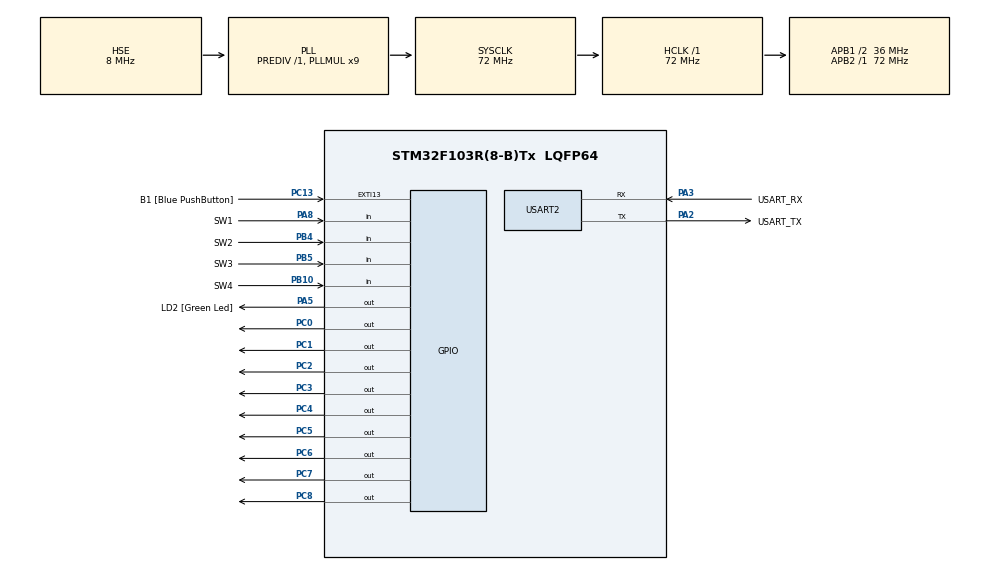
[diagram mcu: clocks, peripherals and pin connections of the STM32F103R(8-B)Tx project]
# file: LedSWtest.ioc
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Mcu.Family=STM32F1
Mcu.Name=STM32F103R(8-B)Tx
Mcu.Package=LQFP64
NVIC.EXTI15_10_IRQn=true\:0\:0\:false\:false\:true\:true\:true\:true
NVIC.PriorityGroup=NVIC_PRIORITYGROUP_4
PA13.GPIO_Label=TMS
PA13.Mode=Serial_Wire
PA13.Signal=SYS_JTMS-SWDIO
PA14.GPIO_Label=TCK
PA14.Mode=Serial_Wire
PA14.Signal=SYS_JTCK-SWCLK
PA2.GPIO_Label=USART_TX
PA2.GPIO_Mode=GPIO_MODE_AF_PP
PA2.GPIO_PuPd=GPIO_NOPULL
PA2.GPIO_Speed=GPIO_SPEED_FREQ_LOW
PA2.Mode=Asynchronous
PA2.Signal=USART2_TX
PA3.GPIO_Label=USART_RX
PA3.GPIO_Mode=GPIO_MODE_AF_PP
PA3.GPIO_PuPd=GPIO_NOPULL
PA3.GPIO_Speed=GPIO_SPEED_FREQ_LOW
PA3.Mode=Asynchronous
PA3.Signal=USART2_RX
PA5.GPIO_Label=LD2 [Green Led]
PA5.GPIO_ModeDefaultOutputPP=GPIO_MODE_OUTPUT_PP
PA5.GPIO_PuPd=GPIO_NOPULL
PA5.GPIO_Speed=GPIO_SPEED_FREQ_LOW
PA5.Signal=GPIO_Output
PA8.GPIO_Label=SW1
PA8.Signal=GPIO_Input
PB10.GPIO_Label=SW4
PB10.Signal=GPIO_Input
PB3.GPIO_Label=SWO
PB3.Signal=SYS_JTDO-TRACESWO
PB4.GPIO_Label=SW2
PB4.Signal=GPIO_Input
PB5.GPIO_Label=SW3
PB5.Signal=GPIO_Input
PC0.Signal=GPIO_Output
PC1.Signal=GPIO_Output
PC13-TAMPER-RTC.GPIO_Label=B1 [Blue PushButton]
PC13-TAMPER-RTC.GPIO_PuPd=GPIO_NOPULL
PC13-TAMPER-RTC.Signal=GPXTI13
PC14-OSC32_IN.Mode=LSE-External-Oscillator
PC14-OSC32_IN.Signal=RCC_OSC32_IN
PC15-OSC32_OUT.Mode=LSE-External-Oscillator
PC15-OSC32_OUT.Signal=RCC_OSC32_OUT
PC2.Signal=GPIO_Output
PC3.Signal=GPIO_Output
PC4.Signal=GPIO_Output
PC5.Signal=GPIO_Output
PC6.Signal=GPIO_Output
PC7.Signal=GPIO_Output
PC8.Signal=GPIO_Output
PD0-OSC_IN.Mode=HSE-External-Clock-Source
PD0-OSC_IN.Signal=RCC_OSC_IN
PD1-OSC_OUT.Mode=HSE-External-Clock-Source
PD1-OSC_OUT.Signal=RCC_OSC_OUT
ProjectManager.HeapSize=0x200
ProjectManager.StackSize=0x400
ProjectManager.TargetToolchain=STM32CubeIDE
RCC.AHBFreq_Value=72000000
RCC.APB1CLKDivider=RCC_HCLK_DIV2
RCC.APB1Freq_Value=36000000
RCC.APB1TimFreq_Value=72000000
RCC.APB2Freq_Value=72000000
RCC.APB2TimFreq_Value=72000000
RCC.HCLKFreq_Value=72000000
RCC.PLLMUL=RCC_PLL_MUL9
RCC.PLLSourceVirtual=RCC_PLLSOURCE_HSE
RCC.RTCClockSelection=RCC_RTCCLKSOURCE_LSE
RCC.SYSCLKFreq_VALUE=72000000
RCC.SYSCLKSource=RCC_SYSCLKSOURCE_PLLCLK
RCC.USBFreq_Value=72000000
USART2.VirtualMode=VM_ASYNC
board=NUCLEO-F103RB

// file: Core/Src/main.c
/* USER CODE BEGIN Header */
/**
  ******************************************************************************
  * @file           : main.c
  * @brief          : Main program body
  ******************************************************************************
  * @attention
  *
  * Copyright (c) 2022 STMicroelectronics.
  * All rights reserved.
  *
  * This software is licensed under terms that can be found in the LICENSE file
  * in the root directory of this software component.
  * If no LICENSE file comes with this software, it is provided AS-IS.
  *
  ******************************************************************************
  */
/* USER CODE END Header */
#include "main.h"

 UART_HandleTypeDef huart2;

void SystemClock_Config(void);
static void MX_GPIO_Init(void);
static void MX_USART2_UART_Init(void);

int main(void)
{

  /* MCU Configuration--------------------------------------------------------*/

  /* Reset of all peripherals, Initializes the Flash interface and the Systick. */
  HAL_Init();

  /* Configure the system clock */
  SystemClock_Config();

  /* Initialize all configured peripherals */
  MX_GPIO_Init();
  MX_USART2_UART_Init();
  /* USER CODE BEGIN 2 */
//  	  HAL_GPIO_TogglePin(GPIOC, GPIO_PIN_All);
//	  HAL_Delay(2000);

  /* USER CODE END 2 */

  /* Infinite loop */
  /* USER CODE BEGIN WHILE */
  while (1)
  {
	  if(HAL_GPIO_ReadPin(GPIOA, SW1_Pin) == GPIO_PIN_RESET)
	  {
		  HAL_GPIO_WritePin(GPIOC, 0xAA, GPIO_PIN_SET);
		  HAL_Delay(2000);
		  HAL_GPIO_WritePin(GPIOC, 0xAA, GPIO_PIN_RESET);
	  }
	  else if(HAL_GPIO_ReadPin(GPIOB, SW2_Pin) == GPIO_PIN_RESET)
	  {
		  HAL_GPIO_WritePin(GPIOC, 0x55, GPIO_PIN_SET);
		  HAL_Delay(2000);
		  HAL_GPIO_WritePin(GPIOC, 0x55, GPIO_PIN_RESET);
	  }
	  else if(HAL_GPIO_ReadPin(GPIOB, SW3_Pin) == GPIO_PIN_RESET)
	  {
		  HAL_GPIO_WritePin(GPIOC, 0x33, GPIO_PIN_SET);
		  HAL_Delay(2000);
		  HAL_GPIO_WritePin(GPIOC, 0x33, GPIO_PIN_RESET);
	  }
	  else if(HAL_GPIO_ReadPin(GPIOB, SW4_Pin) == GPIO_PIN_RESET)
		{
		  HAL_GPIO_WritePin(GPIOC, 0xCC, GPIO_PIN_SET);
		  HAL_Delay(2000);
		  HAL_GPIO_WritePin(GPIOC, 0xCC, GPIO_PIN_RESET);
		}

    /* USER CODE END WHILE */

  }
}

void SystemClock_Config(void)
{
  RCC_OscInitTypeDef RCC_OscInitStruct = {0};
  RCC_ClkInitTypeDef RCC_ClkInitStruct = {0};

  /** Initializes the RCC Oscillators according to the specified parameters
  * in the RCC_OscInitTypeDef structure.
  */
  RCC_OscInitStruct.OscillatorType = RCC_OSCILLATORTYPE_HSE;
  RCC_OscInitStruct.HSEState = RCC_HSE_BYPASS;
  RCC_OscInitStruct.HSEPredivValue = RCC_HSE_PREDIV_DIV1;
  RCC_OscInitStruct.HSIState = RCC_HSI_ON;
  RCC_OscInitStruct.PLL.PLLState = RCC_PLL_ON;
  RCC_OscInitStruct.PLL.PLLSource = RCC_PLLSOURCE_HSE;
  RCC_OscInitStruct.PLL.PLLMUL = RCC_PLL_MUL9;
  if (HAL_RCC_OscConfig(&RCC_OscInitStruct) != HAL_OK)
  {
    Error_Handler();
  }

  /** Initializes the CPU, AHB and APB buses clocks
  */
  RCC_ClkInitStruct.ClockType = RCC_CLOCKTYPE_HCLK|RCC_CLOCKTYPE_SYSCLK
                              |RCC_CLOCKTYPE_PCLK1|RCC_CLOCKTYPE_PCLK2;
  RCC_ClkInitStruct.SYSCLKSource = RCC_SYSCLKSOURCE_PLLCLK;
  RCC_ClkInitStruct.AHBCLKDivider = RCC_SYSCLK_DIV1;
  RCC_ClkInitStruct.APB1CLKDivider = RCC_HCLK_DIV2;
  RCC_ClkInitStruct.APB2CLKDivider = RCC_HCLK_DIV1;

  if (HAL_RCC_ClockConfig(&RCC_ClkInitStruct, FLASH_LATENCY_2) != HAL_OK)
  {
    Error_Handler();
  }
}

static void MX_USART2_UART_Init(void)
{

  huart2.Instance = USART2;
  huart2.Init.BaudRate = 115200;
  huart2.Init.WordLength = UART_WORDLENGTH_8B;
  huart2.Init.StopBits = UART_STOPBITS_1;
  huart2.Init.Parity = UART_PARITY_NONE;
  huart2.Init.Mode = UART_MODE_TX_RX;
  huart2.Init.HwFlowCtl = UART_HWCONTROL_NONE;
  huart2.Init.OverSampling = UART_OVERSAMPLING_16;
  if (HAL_UART_Init(&huart2) != HAL_OK)
  {
    Error_Handler();
  }

}

static void MX_GPIO_Init(void)
{
  GPIO_InitTypeDef GPIO_InitStruct = {0};

  /* GPIO Ports Clock Enable */
  __HAL_RCC_GPIOC_CLK_ENABLE();
  __HAL_RCC_GPIOD_CLK_ENABLE();
  __HAL_RCC_GPIOA_CLK_ENABLE();
  __HAL_RCC_GPIOB_CLK_ENABLE();

  /*Configure GPIO pin Output Level */
  HAL_GPIO_WritePin(GPIOC, GPIO_PIN_0|GPIO_PIN_1|GPIO_PIN_2|GPIO_PIN_3
                          |GPIO_PIN_4|GPIO_PIN_5|GPIO_PIN_6|GPIO_PIN_7
                          |GPIO_PIN_8, GPIO_PIN_RESET);

  /*Configure GPIO pin Output Level */
  HAL_GPIO_WritePin(LD2_GPIO_Port, LD2_Pin, GPIO_PIN_RESET);

  /*Configure GPIO pin : B1_Pin */
  GPIO_InitStruct.Pin = B1_Pin;
  GPIO_InitStruct.Mode = GPIO_MODE_IT_RISING;
  GPIO_InitStruct.Pull = GPIO_NOPULL;
  HAL_GPIO_Init(B1_GPIO_Port, &GPIO_InitStruct);

  /*Configure GPIO pins : PC0 PC1 PC2 PC3
                           PC4 PC5 PC6 PC7
                           PC8 */
  GPIO_InitStruct.Pin = GPIO_PIN_0|GPIO_PIN_1|GPIO_PIN_2|GPIO_PIN_3
                          |GPIO_PIN_4|GPIO_PIN_5|GPIO_PIN_6|GPIO_PIN_7
                          |GPIO_PIN_8;
  GPIO_InitStruct.Mode = GPIO_MODE_OUTPUT_PP;
  GPIO_InitStruct.Pull = GPIO_NOPULL;
  GPIO_InitStruct.Speed = GPIO_SPEED_FREQ_LOW;
  HAL_GPIO_Init(GPIOC, &GPIO_InitStruct);

  /*Configure GPIO pin : LD2_Pin */
  GPIO_InitStruct.Pin = LD2_Pin;
  GPIO_InitStruct.Mode = GPIO_MODE_OUTPUT_PP;
  GPIO_InitStruct.Pull = GPIO_NOPULL;
  GPIO_InitStruct.Speed = GPIO_SPEED_FREQ_LOW;
  HAL_GPIO_Init(LD2_GPIO_Port, &GPIO_InitStruct);

  /*Configure GPIO pins : SW4_Pin SW2_Pin SW3_Pin */
  GPIO_InitStruct.Pin = SW4_Pin|SW2_Pin|SW3_Pin;
  GPIO_InitStruct.Mode = GPIO_MODE_INPUT;
  GPIO_InitStruct.Pull = GPIO_NOPULL;
  HAL_GPIO_Init(GPIOB, &GPIO_InitStruct);

  /*Configure GPIO pin : SW1_Pin */
  GPIO_InitStruct.Pin = SW1_Pin;
  GPIO_InitStruct.Mode = GPIO_MODE_INPUT;
  GPIO_InitStruct.Pull = GPIO_NOPULL;
  HAL_GPIO_Init(SW1_GPIO_Port, &GPIO_InitStruct);

  /* EXTI interrupt init*/
  HAL_NVIC_SetPriority(EXTI15_10_IRQn, 0, 0);
  HAL_NVIC_EnableIRQ(EXTI15_10_IRQn);

}

void Error_Handler(void)
{
  __disable_irq();
  while (1)
  {
  }
}
